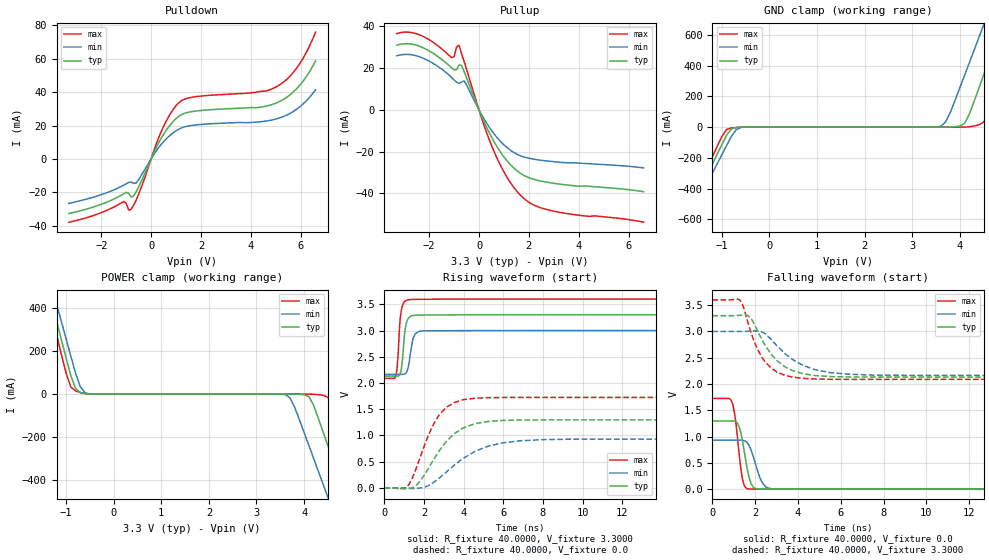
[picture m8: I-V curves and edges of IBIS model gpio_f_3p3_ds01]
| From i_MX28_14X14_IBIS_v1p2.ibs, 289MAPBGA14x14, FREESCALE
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|   Model gpio_f_3p3_ds01
| This model was characterised for following simulation conditions:
| Spice Models:
|  - Typ Condition
|   ..../backup/r63536/IBIS/GPIO_IBIS/io_dig_gpio_f_bs_ir_3p3_8mA/typ.model
|  - Min Condition
|   ..../backup/r63536/IBIS/GPIO_IBIS/io_dig_gpio_f_bs_ir_3p3_8mA/wcs.model
|  - Max Condition
|   ..../backup/r63536/IBIS/GPIO_IBIS/io_dig_gpio_f_bs_ir_3p3_8mA/bcs.model
[Model]  gpio_f_3p3_ds01
Model_type I/O
Polarity   Non-Inverting
Enable   Active-Low
Vinl =   0.8000V
Vinh =   2.0000V
Vmeas =  1.6500V
Cref =   0.0F
Rref =   40.0000
Vref =   1.6500V
C_comp   2.0139pF   1.8496pF   2.2065pF
[Temperature Range]   25.0000   0.1050k   -40.0000
[Voltage Range]   3.3000V   3.0000V   3.6000V
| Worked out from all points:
|   slope of the pulldown table from 0 to 0.495 V, typ, clamps not added: 33.7 ohm
|   slope of the pullup table from 0 to 0.495 V, typ, clamps not added: 38.5 ohm
|   GND clamp passes 1 mA (typ) near -0.62 V on its own axis
|   POWER clamp passes 1 mA (typ) near -0.53 V on its own axis
|   rising waveform, R_fixture 40.0000, V_fixture 3.3000: 20-80 % time 176ps typ, 217ps min, 159ps max; typ from 2.13 V to 3.3 V
|   rising waveform, R_fixture 40.0000, V_fixture 0.0: 20-80 % time 1.5ns typ, 2.13ns min, 1.17ns max; typ from 0 V to 1.3 V
|   falling waveform, R_fixture 40.0000, V_fixture 0.0: 20-80 % time 348ps typ, 446ps min, 290ps max; typ from 1.3 V to 0 V
|   falling waveform, R_fixture 40.0000, V_fixture 3.3000: 20-80 % time 1.23ns typ, 1.61ns min, 969ps max; typ from 3.3 V to 2.13 V
[Pulldown]
|Voltage   I(typ)   I(min)   I(max)
-3.3V     -32.63mA   -26.6mA    -37.84mA
-1.1V     -20.86mA   -15.69mA   -25.43mA
-900mV    -20.54mA   -14.02mA   -30.62mA
-800mV    -22.81mA   -13.79mA   -30.12mA
-600mV    -19.66mA   -14.34mA   -24.66mA
400mV     12.33mA    8.644mA    16.18mA
800mV     21.04mA    14.69mA    27.75mA
1.1V      25.44mA    17.75mA    33.56mA
1.7V      28.53mA    20.24mA    37.12mA
5V        33.41mA    23.91mA    43.03mA
5.9V      43.03mA    30.48mA    55.68mA
6.6V      58.74mA    41.47mA    76mA
[Pullup]
|Voltage   I(typ)   I(min)   I(max)
-3.3V     31.03mA    25.98mA    36.58mA
-2.3V     30.09mA    25.08mA    35.55mA
-1.1V     20.21mA    15.53mA    25.12mA
-900mV    19.29mA    13.27mA    30.23mA
-800mV    21.54mA    12.76mA    31mA
-600mV    18.48mA    13.94mA    23.27mA
100mV     -2.884mA   -2.195mA   -3.738mA
600mV     -15.14mA   -11.39mA   -19.8mA
1.2V      -25.43mA   -18.76mA   -33.73mA
1.9V      -31.94mA   -22.86mA   -43.38mA
3.2V      -35.47mA   -25mA      -48.97mA
6.6V      -39.18mA   -27.77mA   -53.77mA
[GND_clamp]
|Voltage   I(typ)   I(min)   I(max)
-3.3V     -1.585A    -1.577A    -1.597A
-1.9V     -687.5mA   -724mA     -659.6mA
-1.7V     -559.5mA   -602.6mA   -526mA
-900mV    -52.23mA   -118.9mA   -14.88mA
-600mV    -643.9uA   -1.888mA   -689.4uA
3.6V      4.033uA    5.912mA    120.9pA
4.1V      26.13mA    339.5mA    221.8uA
4.4V      255mA      584.9mA    14.68mA
4.6V      427.4mA    749.5mA    99.11mA
4.9V      687.8mA    998.1mA    367.8mA
5.2V      950.6mA    1.249A     641.2mA
6.6V      2.219A     2.453A     1.963A
[POWER_clamp]
|Voltage   I(typ)   I(min)   I(max)
-3.3V     2.219A     2.19A      2.26A
-1.4V     514mA      584.9mA    458.6mA
-1.2V     341.1mA    421.1mA    277.3mA
-900mV    86.43mA    177mA      33.13mA
-700mV    7.36mA     34mA       7.301mA
3.6V      -3.447uA   -1.888mA   -318.7pA
3.8V      -92.08uA   -60.04mA   -2.661uA
4.1V      -11.61mA   -239.4mA   -74.75uA
4.5V      -240.5mA   -481.3mA   -14.88mA
4.9V      -495.6mA   -724mA     -259.1mA
5.2V      -687.5mA   -906.5mA   -459.2mA
6.6V      -1.585A    -1.761A    -1.396A
[Ramp]
| variable   typ   min   max
dV/dt_r  0.7786/1.5048n   0.5589/2.1270n   1.0356/1.1678n
dV/dt_f  0.7011/1.2266n   0.5008/1.5883n   0.9070/0.9645n
R_load = 40.0000
[Rising Waveform]
R_fixture= 40.0000
V_fixture= 3.3000
V_fixture_min= 3.0000
V_fixture_max= 3.6000
|time   V(typ)   V(min)   V(max)
0s        2.131V     2.165V     2.088V
573.1ps   2.131V     2.165V     2.133V
670.8ps   2.13V      2.165V     2.438V
797.9ps   2.178V     2.165V     3.235V
891.1ps   2.378V     2.164V     3.454V
1.053ns   3.049V     2.178V     3.563V
1.241ns   3.25V      2.377V     3.588V
1.439ns   3.287V     2.847V     3.593V
1.892ns   3.295V     2.992V     3.595V
25ns      3.3V       3V         3.6V
[Rising Waveform]
R_fixture= 40.0000
V_fixture= 0.0
V_fixture_min= 0.0
V_fixture_max= 0.0
|time   V(typ)   V(min)   V(max)
0s        3.675nV    17.21nV    4.42nV
1.176ns   -6.079mV   -4.466mV   36.11mV
1.812ns   136.8mV    -92.33uV   592.9mV
2.197ns   359.1mV    39.51mV    984.3mV
2.769ns   711.3mV    188.8mV    1.397V
3.12ns    886.3mV    302.4mV    1.537V
3.956ns   1.141V     559.9mV    1.68V
5.232ns   1.267V     796mV      1.721V
7.967ns   1.297V     920.5mV    1.726V
25ns      1.298V     931.5mV    1.726V
[Falling Waveform]
R_fixture= 40.0000
V_fixture= 0.0
V_fixture_min= 0.0
V_fixture_max= 0.0
|time   V(typ)   V(min)   V(max)
0s        1.298V     931.5mV    1.726V
782.8ps   1.298V     931.5mV    1.724V
958.1ps   1.299V     931.5mV    1.61V
1.186ns   1.245V     931.8mV    931.2mV
1.406ns   925.2mV    930.3mV    194.1mV
1.631ns   380.2mV    881.9mV    7.989mV
1.925ns   29.31mV    606.2mV    2.313mV
2.333ns   2.246mV    120mV      1.26mV
2.791ns   1.235mV    3.827mV    672.7uV
25ns      4.276nV    18.78nV    4.741nV
[Falling Waveform]
R_fixture= 40.0000
V_fixture= 3.3000
V_fixture_min= 3.0000
V_fixture_max= 3.6000
|time   V(typ)   V(min)   V(max)
0s        3.3V       3V         3.6V
1.264ns   3.306V     3V         3.604V
1.477ns   3.313V     3.001V     3.435V
1.777ns   3.261V     3.006V     3.015V
2.291ns   2.864V     2.995V     2.525V
3.018ns   2.445V     2.727V     2.227V
3.743ns   2.256V     2.466V     2.132V
5.496ns   2.142V     2.217V     2.09V
7.45ns    2.132V     2.171V     2.088V
25ns      2.131V     2.165V     2.088V
